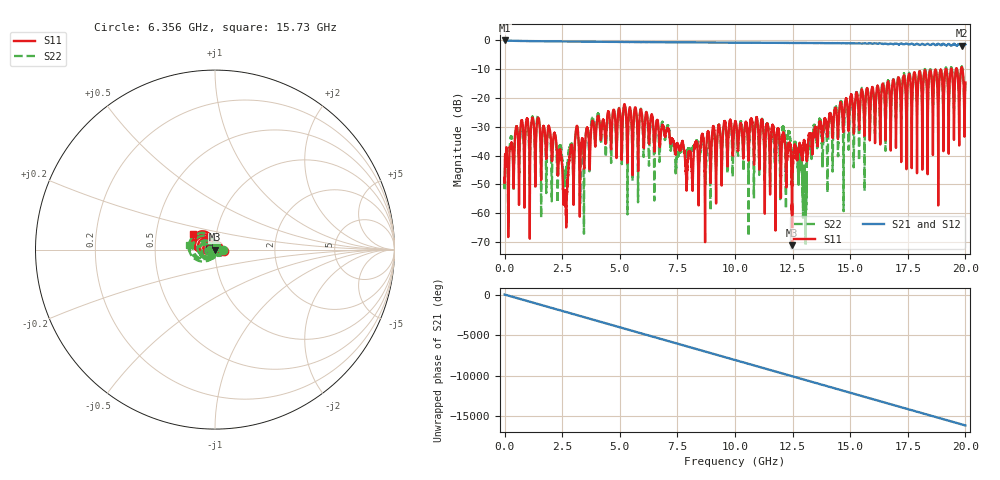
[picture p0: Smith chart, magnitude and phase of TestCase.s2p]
!Agilent Technologies,N5230A,US43500510,A.06.04.32
!Agilent N5230A: A.06.04.32
!Date: Wednesday, July 01, 2009 21:09:22
!Correction: S11(Full 4 Port(1,2,3,4)) S21(Full 4 Port(1,2,3,4)) S12(Full 4 Port(1,2,3,4)) S22(Full 4 Port(1,2,3,4))
!S2P File: Measurements: S11, S21, S12, S22:
# Hz S  dB  R 50
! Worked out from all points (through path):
!   12801 points, 300 kHz to 20 GHz, reference 50 ohm
!   highest |S21| = -0.01 dB at 4.987 MHz (marker M1); lowest = -1.8 dB at 19.84 GHz (marker M2)
!   group delay of S21, straight-line fit = 2.24 ns
!   lowest |S11| = -71.2 dB at 12.48 GHz (marker M3), VSWR 1.00, Z = 50 - j0.0269 ohm
!   |S11| at or under -10 dB: start of sweep to 19.15 GHz; 19.17 GHz to 19.37 GHz (206.4 MHz wide, 1.07 % of centre); 19.4 GHz to 19.59 GHz (193.8 MHz wide, 0.994 % of centre)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
!   |S22| runs from -71.5 to -9.1 dB; largest |S21 - S12| = 0.016
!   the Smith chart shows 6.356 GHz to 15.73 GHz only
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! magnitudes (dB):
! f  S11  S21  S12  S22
! 300 kHz  -47.7  0.0  0.0  -48.7
! 4.987 MHz  -46.7  0.0  0.0  -50.5
! 511.2 MHz  -29.9  -0.2  -0.2  -29.9
! 1.457 GHz  -27.0  -0.3  -0.3  -26.3
! 2.188 GHz  -32.8  -0.3  -0.3  -32.7
! 2.625 GHz  -53.1  -0.4  -0.4  -47.6
! 2.847 GHz  -38.8  -0.4  -0.4  -36.8
! 3.124 GHz  -30.0  -0.4  -0.4  -30.4
! 3.335 GHz  -35.4  -0.4  -0.4  -39.2
! 4.056 GHz  -26.3  -0.5  -0.5  -25.4
! 6.667 GHz  -29.4  -0.6  -0.6  -30.3
! 7.906 GHz  -50.3  -0.6  -0.6  -39.3
! 10 GHz  -28.3  -0.8  -0.8  -28.8
! 11.64 GHz  -29.7  -0.8  -0.8  -30.7
! 12.34 GHz  -35.9  -0.9  -0.9  -31.5
! 12.48 GHz  -71.2  -0.9  -0.9  -47.1
! 12.63 GHz  -37.4  -0.9  -0.9  -36.1
! 13.02 GHz  -35.2  -0.9  -0.9  -44.5
! 13.33 GHz  -36.6  -0.9  -0.9  -40.3
! 16.67 GHz  -14.8  -1.3  -1.2  -14.4
! 19.84 GHz  -9.4  -1.8  -1.8  -9.1
! 20 GHz  -14.6  -1.4  -1.4  -13.6
